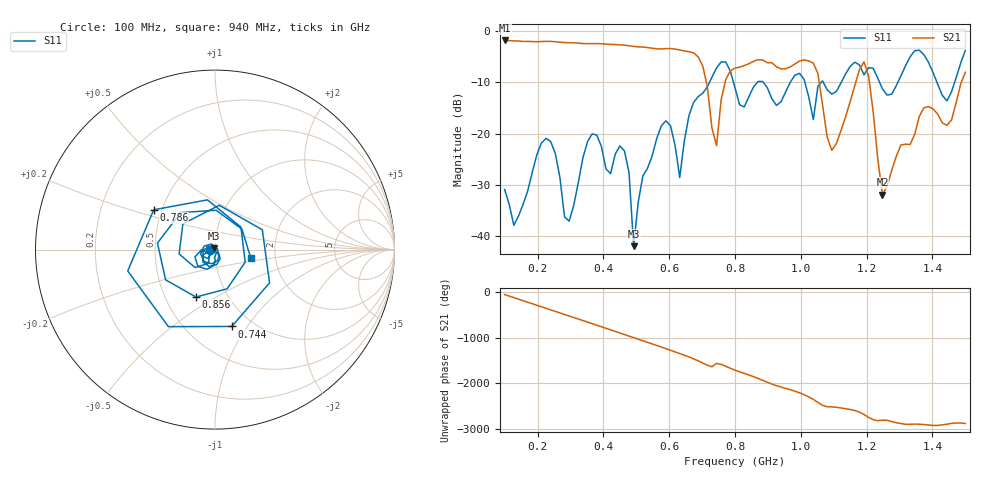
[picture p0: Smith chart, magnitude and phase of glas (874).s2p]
! NanoVNA-App
! Date: 2025-09-25 16:02:16
! Start: 100MHz Stop: 1,5GHz Points: 101
! S-Parameter data: F S11 S21 S12 S22
# Hz S RI R 50
!  Frequency  S11_Real  S11_Imag  S21_Real  S21_Imag  S12_Real  S12_Imag  S22_Real  S22_Imag
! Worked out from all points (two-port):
!   101 points, 100 MHz to 1.5 GHz, reference 50 ohm
!   highest |S21| = -1.80 dB at 100 MHz (marker M1); lowest = -31.9 dB at 1.248 GHz (marker M2)
!   |S21| within 3 dB of the highest: start of sweep to 684.5 MHz
!   lowest |S11| = -42.0 dB at 492 MHz (marker M3), VSWR 1.02, Z = 49.5 + j0.612 ohm
!   |S11| at or under -10 dB: start of sweep to 722.4 MHz; 795.5 MHz to 867.7 MHz (72.26 MHz wide, 8.69 % of centre); 886.1 MHz to 967.7 MHz (81.62 MHz wide, 8.81 % of centre) (the widest 3 of 7)
!   S12 and S22 are empty: the file has one direction only
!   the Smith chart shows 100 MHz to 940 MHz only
!   S11 on the Smith chart (normalised r, x): 100 MHz: 0.94, -0.01; 744 MHz: 0.80, -0.85; 786 MHz: 0.45, +0.24; 856 MHz: 0.71, -0.41; 940 MHz: 1.49, -0.15
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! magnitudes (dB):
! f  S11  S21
! 100 MHz  -30.9  -1.8
! 128 MHz  -37.9  -1.9
! 226 MHz  -20.9  -2.0
! 296 MHz  -37.1  -2.2
! 338 MHz  -24.7  -2.4
! 464 MHz  -23.4  -2.7
! 492 MHz  -42.0  -3.0
! 576 MHz  -18.5  -3.5
! 632 MHz  -28.6  -3.7
! 702 MHz  -12.1  -6.8
! 744 MHz  -7.2  -22.3
! 786 MHz  -7.8  -7.7
! 800 MHz  -11.1  -7.2
! 856 MHz  -10.9  -5.9
! 940 MHz  -13.8  -7.4
! 1.038 GHz  -17.3  -6.2
! 1.094 GHz  -12.3  -23.3
! 1.192 GHz  -8.5  -6.0
! 1.248 GHz  -11.3  -31.9
! 1.276 GHz  -12.3  -27.2
! 1.444 GHz  -13.6  -18.4
! 1.5 GHz  -3.7  -8.0
